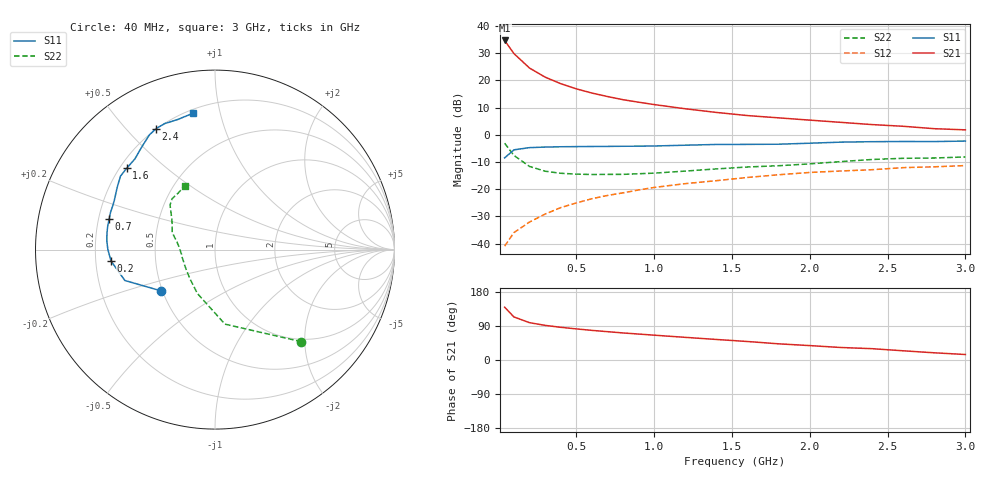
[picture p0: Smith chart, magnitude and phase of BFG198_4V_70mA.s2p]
! Filename:  BFG198E.S2P  Version:  2.0
! Philips part #: BFG198  Date: Jul 1990
! Bias condition: Vce=4V, Ic=70mA
#  MHz  S  MA  R  50
! Freq  S11  S21  S12  S22  !GUM [dB]
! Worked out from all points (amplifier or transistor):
!   21 points, 40 MHz to 3 GHz, reference 50 ohm
!   highest |S21| = 34.7 dB at 40 MHz (marker M1)
!   |S21| within 3 dB of that: start of sweep to 77.25 MHz
!   unconditionally stable (mu >= 1): 277 MHz to 2.015 GHz
!   at 300 MHz: K = 1.01, MAG = 24.5 dB, |S12| = -29.1 dB
!   at 1 GHz: K = 1.07, MAG = 13.7 dB, |S12| = -19.3 dB
!   at 3 GHz: K = 0.95, MSG = 6.6 dB, |S12| = -11.3 dB
!   S11 on the Smith chart (normalised r, x): 40 MHz: 0.49, -0.26; 200 MHz: 0.26, -0.05; 700 MHz: 0.24, +0.13; 1.6 GHz: 0.23, +0.37; 2.4 GHz: 0.20, +0.61; 3 GHz: 0.22, +0.83
40  0.378 -142.5  54.45 139.4  0.009 67.1  0.704 -46.8
100  0.531 -161.1  31.22 113.6  0.016 63.4  0.419 -82.4
200  0.583 -173.8  16.93 98.5  0.025 69.2  0.263 -112.0
300  0.597 179.9  11.54 91.4  0.035 71.8  0.215 -130.2
400  0.605 175.2  8.75 86.3  0.046 73.0  0.197 -143.2
500  0.609 171.3  7.032 82.1  0.056 73.0  0.19 -152.8
600  0.612 167.6  5.885 78.2  0.067 73.0  0.187 -160.0
700  0.614 163.8  5.079 74.8  0.077 72.6  0.188 -166.1
800  0.618 160.4  4.439 71.4  0.086 71.7  0.188 -171.7
900  0.62 156.8  3.992 68.5  0.097 71.2  0.193 -177.7
1000  0.625 153.7  3.611 65.5  0.108 70.4  0.198 177.4
1200  0.646 147.5  3.022 59.8  0.127 68.2  0.216 168.7
1400  0.667 142.1  2.588 54.2  0.144 65.8  0.237 162.7
1600  0.669 137.4  2.265 48.8  0.165 64.8  0.257 158.0
1800  0.674 131.5  2.057 42.7  0.185 60.4  0.271 151.7
2000  0.703 125.4  1.868 38.0  0.204 58.5  0.293 145.1
2200  0.736 119.8  1.7 33.0  0.217 55.6  0.323 139.5
2400  0.75 116.0  1.547 29.9  0.229 54.6  0.353 135.2
2600  0.756 111.8  1.44 24.3  0.25 50.7  0.371 130.1
2800  0.754 106.0  1.3 19.0  0.259 45.8  0.376 122.9
3000  0.77 99.0  1.238 14.5  0.273 44.1  0.393 115.6
